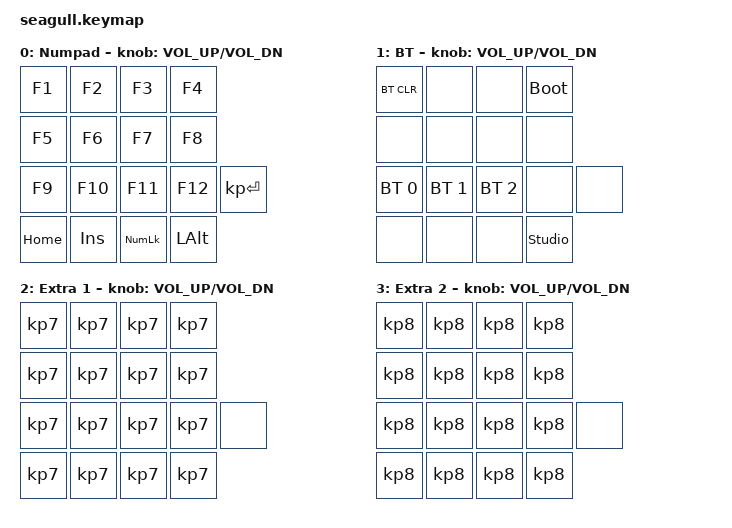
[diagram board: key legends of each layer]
#include <behaviors.dtsi>
#include <dt-bindings/zmk/keys.h>
#include <dt-bindings/zmk/bt.h>

#define NUMPAD    0
#define BLUETOOTH 1
#define EXTRA1    2
#define EXTRA2    3

/ {
    combos {
        compatible = "zmk,combos";

        combo_layer0 {
            timeout-ms = <200>;
            key-positions = <12 0>;
            bindings = <&to 0>;
        };

        combo_layer1 {
            timeout-ms = <200>;
            key-positions = <12 1>;
            bindings = <&to 1>;
        };

        combo_layer2 {
            timeout-ms = <200>;
            key-positions = <12 2>;
            bindings = <&to 2>;
        };

        combo_layer3 {
            timeout-ms = <200>;
            key-positions = <12 3>;
            bindings = <&to 3>;
        };
    };

    keymap {
        compatible = "zmk,keymap";

        layer_numpad {
            display-name = "Numpad";
            bindings = <
                &kp F1    &kp F2    &kp F3    &kp F4
                &kp F5    &kp F6    &kp F7    &kp F8
                &kp F9    &kp F10    &kp F11    &kp F12    &kp KP_ENTER
                &kp HOME    &kp INS   &kp KP_NUM  &kp LALT
            >;
            sensor-bindings = <&inc_dec_kp C_VOL_UP C_VOL_DN>;
        };

        layer_bluetooth {
            display-name = "BT";
            bindings = <
                &bt BT_CLR      &none           &none           &bootloader
                &none           &none           &none           &none
                &bt BT_SEL 0    &bt BT_SEL 1    &bt BT_SEL 2    &none           &none
                &none           &none           &none           &studio_unlock
            >;
            sensor-bindings = <&inc_dec_kp C_VOL_UP C_VOL_DN>;
        };

        extra1 {
            display-name = "Extra 1";
            bindings = <
                &kp KP_N7    &kp KP_N7    &kp KP_N7    &kp KP_N7
                &kp KP_N7    &kp KP_N7    &kp KP_N7    &kp KP_N7
                &kp KP_N7    &kp KP_N7    &kp KP_N7    &kp KP_N7    &none
                &kp KP_N7    &kp KP_N7    &kp KP_N7    &kp KP_N7
            >;
            sensor-bindings = <&inc_dec_kp C_VOL_UP C_VOL_DN>;
        };

        extra2 {
            display-name = "Extra 2";
            bindings = <
                &kp KP_N8    &kp KP_N8    &kp KP_N8    &kp KP_N8
                &kp KP_N8    &kp KP_N8    &kp KP_N8    &kp KP_N8
                &kp KP_N8    &kp KP_N8    &kp KP_N8    &kp KP_N8    &none
                &kp KP_N8    &kp KP_N8    &kp KP_N8    &kp KP_N8
            >;
            sensor-bindings = <&inc_dec_kp C_VOL_UP C_VOL_DN>;
        };
    };
};

